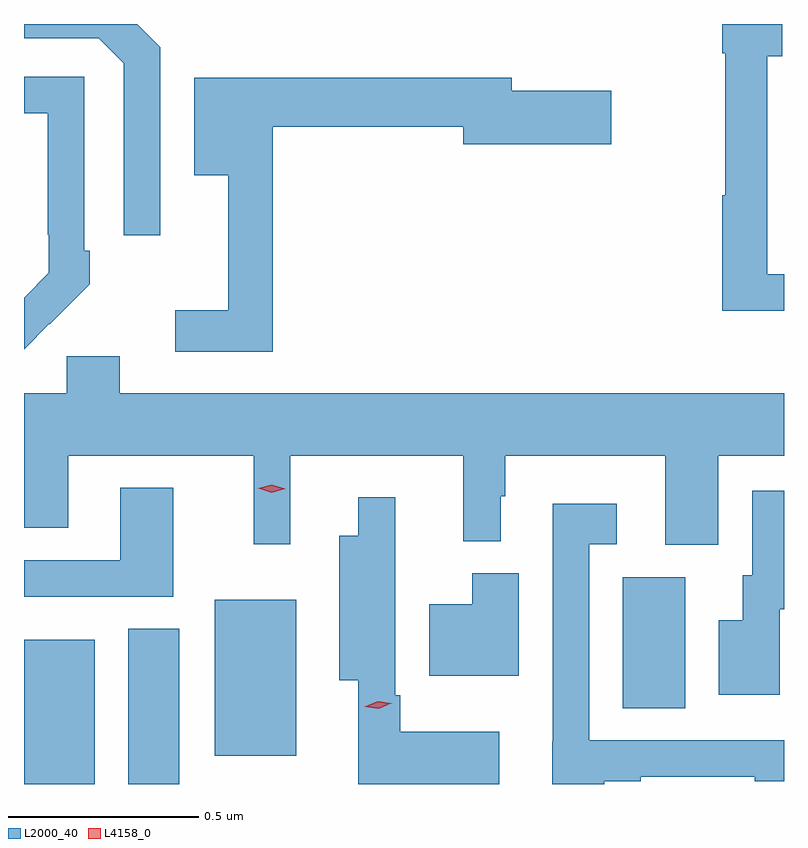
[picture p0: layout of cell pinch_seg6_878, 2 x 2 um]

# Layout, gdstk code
import gdstk
lib = gdstk.Library(unit=1e-6, precision=1e-09)
def R(c, l, rs):  # rectangles x0, y0, x1, y1
    for r in rs: c.add(gdstk.rectangle(r[:2], r[2:], *l))
def P(c, l, *ps):  # polygons
    for p in ps: c.add(gdstk.Polygon(p, *l))
L2000_40 = (2000, 40)
L4158_0 = (4158, 0)

pinch_seg6_878 = lib.new_cell('pinch_seg6_878')
R(pinch_seg6_878, L2000_40, [(123.784,975.776,123.97,976.156), (124.058,975.776,124.192,976.184), (124.286,975.851,124.501,976.261), (125.36,975.976,125.524,976.32)])
P(pinch_seg6_878, L2000_40, [(125.784,977.118),(125.74,977.118),(125.74,977.691),(125.779,977.691),(125.779,977.776),(125.622,977.776),(125.622,977.699),(125.629,977.699),(125.629,977.325),(125.622,977.325),(125.622,977.021),(125.784,977.021)],
  [(124.143,977.715),(124.082,977.776),(123.784,977.776),(123.784,977.739),(123.981,977.739),(124.047,977.673),(124.047,977.22),(124.143,977.22)],
  [(123.851,976.987),(123.852,976.986),(123.957,977.091),(123.957,977.179),(123.942,977.179),(123.942,977.637),(123.784,977.637),(123.784,977.541),(123.846,977.541),(123.846,977.221),(123.849,977.221),(123.849,977.121),(123.784,977.056),(123.784,976.92)],
  [(124.439,977.506),(124.94,977.506),(124.94,977.459),(125.329,977.459),(125.329,977.601),(125.068,977.601),(125.068,977.635),(124.232,977.635),(124.232,977.378),(124.322,977.378),(124.322,977.023),(124.182,977.023),(124.182,976.914),(124.439,976.914)],
  [(125.611,976.64),(125.784,976.64),(125.784,976.804),(124.036,976.804),(124.036,976.902),(123.897,976.902),(123.897,976.804),(123.784,976.804),(123.784,976.45),(123.901,976.45),(123.901,976.64),(124.388,976.64),(124.388,976.407),(124.485,976.407),(124.485,976.64),(124.94,976.64),(124.94,976.415),(125.038,976.415),(125.038,976.533),(125.05,976.533),(125.05,976.64),(125.471,976.64),(125.471,976.405),(125.611,976.405)],
  [(124.177,976.555),(124.037,976.555),(124.037,976.365),(123.784,976.365),(123.784,976.269),(124.177,976.269)],
  [(125.773,976.236),(125.784,976.236),(125.784,976.548),(125.7,976.548),(125.7,976.326),(125.675,976.326),(125.675,976.207),(125.612,976.207),(125.612,976.011),(125.773,976.011)],
  [(125.034,975.913),(124.774,975.913),(124.774,976.009),(124.761,976.009),(124.761,976.531),(124.664,976.531),(124.664,976.429),(124.613,976.429),(124.613,976.049),(124.664,976.049),(124.664,975.776),(125.034,975.776)],
  [(125.311,975.783),(125.407,975.783),(125.407,975.795),(125.707,975.795),(125.707,975.783),(125.784,975.783),(125.784,975.891),(125.271,975.891),(125.271,976.407),(125.344,976.407),(125.344,976.513),(125.175,976.513),(125.175,975.888),(125.174,975.888),(125.174,975.776),(125.311,975.776)],
  [(125.086,976.33),(124.964,976.33),(124.964,976.249),(124.85,976.249),(124.85,976.061),(125.086,976.061)])
P(pinch_seg6_878, L4158_0, [(124.718,975.974),(124.681,975.979),(124.681,975.979),(124.681,975.979),(124.715,975.994),(124.751,975.989),(124.752,975.989),(124.751,975.989)],
  [(124.436,976.543),(124.401,976.554),(124.401,976.554),(124.401,976.554),(124.436,976.563),(124.471,976.553),(124.471,976.553),(124.471,976.553)])

lib.write_gds('pinch_seg6_878.gds')
